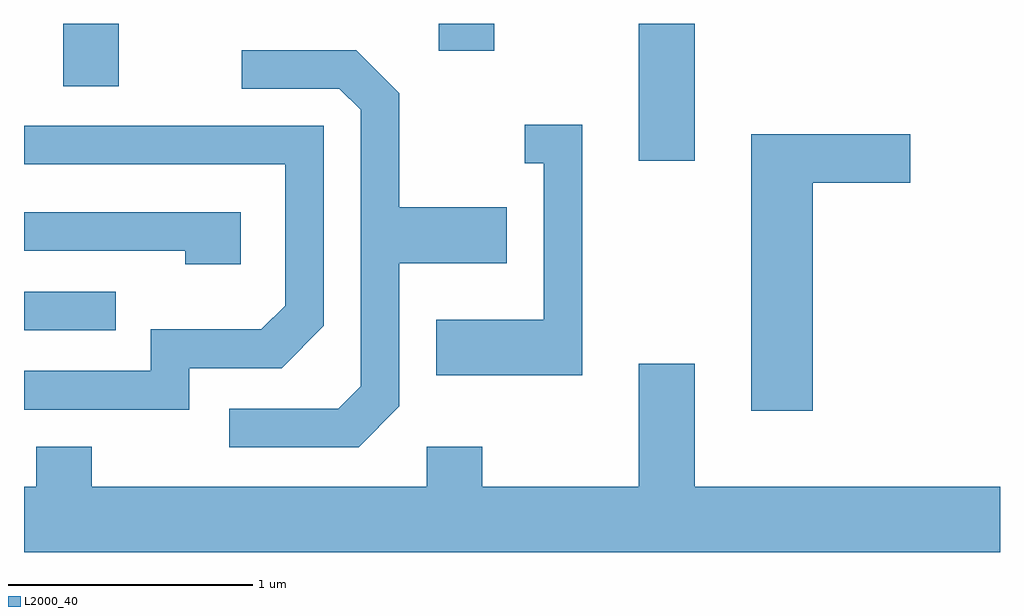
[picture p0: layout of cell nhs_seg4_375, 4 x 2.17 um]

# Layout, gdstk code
import gdstk
lib = gdstk.Library(unit=1e-6, precision=1e-09)
def R(c, l, rs):  # rectangles x0, y0, x1, y1
    for r in rs: c.add(gdstk.rectangle(r[:2], r[2:], *l))
def P(c, l, *ps):  # polygons
    for p in ps: c.add(gdstk.Polygon(p, *l))
L2000_40 = (2000, 40)

nhs_seg4_375 = lib.new_cell('nhs_seg4_375')
R(nhs_seg4_375, L2000_40, [(195.611,1326.726,195.988,1326.884), (198.131,1327.421,198.359,1327.982), (195.771,1327.726,195.999,1327.982), (197.311,1327.871,197.539,1327.982)])
P(nhs_seg4_375, L2000_40, [(197.149,1326.414),(197.149,1327.001),(197.589,1327.001),(197.589,1327.229),(197.149,1327.229),(197.149,1327.697),(196.972,1327.874),(196.503,1327.874),(196.503,1327.716),(196.904,1327.716),(196.991,1327.629),(196.991,1326.497),(196.899,1326.404),(196.453,1326.404),(196.453,1326.246),(196.982,1326.246)],
  [(197.899,1327.569),(197.663,1327.569),(197.663,1327.411),(197.741,1327.411),(197.741,1326.769),(197.301,1326.769),(197.301,1326.541),(197.899,1326.541)],
  [(196.289,1326.571),(196.667,1326.571),(196.839,1326.744),(196.839,1327.564),(195.611,1327.564),(195.611,1327.406),(196.681,1327.406),(196.681,1326.827),(196.584,1326.729),(196.131,1326.729),(196.131,1326.559),(195.611,1326.559),(195.611,1326.401),(196.289,1326.401)],
  [(198.844,1327.331),(199.244,1327.331),(199.244,1327.529),(198.591,1327.529),(198.591,1326.396),(198.844,1326.396)],
  [(196.499,1327.209),(195.611,1327.209),(195.611,1327.051),(196.271,1327.051),(196.271,1326.996),(196.499,1326.996)],
  [(199.611,1326.084),(198.359,1326.084),(198.359,1326.589),(198.131,1326.589),(198.131,1326.084),(197.489,1326.084),(197.489,1326.249),(197.261,1326.249),(197.261,1326.084),(195.889,1326.084),(195.889,1326.249),(195.661,1326.249),(195.661,1326.084),(195.611,1326.084),(195.611,1325.816),(199.611,1325.816)])

lib.write_gds('nhs_seg4_375.gds')
